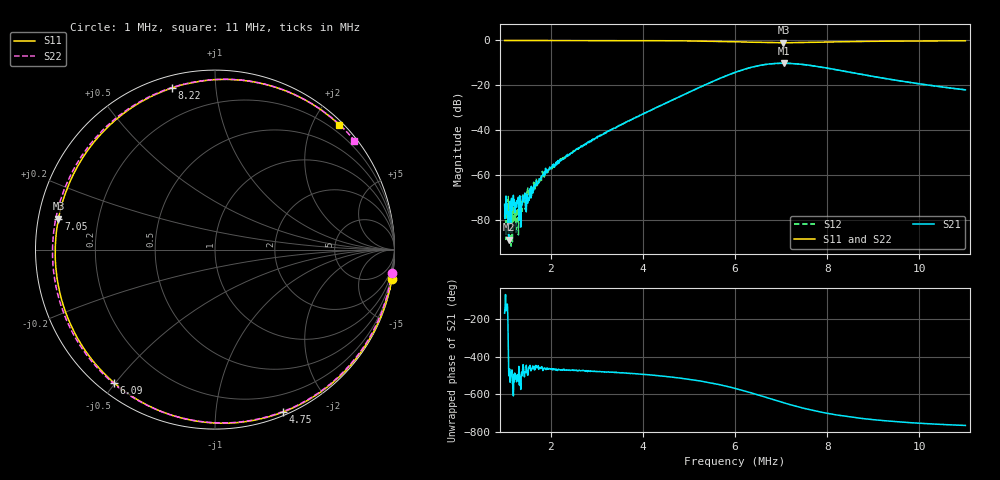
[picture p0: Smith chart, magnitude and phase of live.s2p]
# MHz S DB R 50
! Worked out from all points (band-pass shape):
!   1001 points, 1 MHz to 11 MHz, reference 50 ohm
!   highest |S21| = -10.14 dB at 7.06 MHz (marker M1); lowest = -88.6 dB at 1.09 MHz (marker M2)
!   |S21| within 3 dB of the highest: 6.154 MHz to 8.231 MHz (2.077 MHz wide, 28.9 % of centre)
!   lowest |S11| = -1.0 dB at 7.05 MHz (marker M3), VSWR 17.00, Z = 2.97 + j4.89 ohm
!   |S11| at or under -10 dB: nowhere
!   |S22| runs from -0.9 to 0.0 dB; largest |S21 - S12| = 0.0013
!   S11 on the Smith chart (normalised r, x): 1 MHz: 0, -12; 4.75 MHz: 0.03, -1.50; 6.09 MHz: 0.04, -0.49; 7.05 MHz: 0.06, +0.10; 8.22 MHz: 0.06, +0.77; 11 MHz: 0.06, +2.40
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1  -0.01 -9.4  -72.93 -167.3  -78.44 -167.9  -0.06 -7.4
1.09  -0.01 -10.2  -88.64 -139.7  -81.69 36.1  -0.06 -8.0
1.17  -0.02 -11.0  -75.56 178.8  -89.68 128.6  -0.06 -8.6
1.29  -0.02 -12.1  -70.60 -167.5  -74.69 -157.1  -0.06 -9.5
1.36  -0.02 -12.8  -73.36 -134.5  -71.67 -109.6  -0.06 -10.0
1.44  -0.02 -13.5  -68.06 -121.3  -67.92 -127.7  -0.07 -10.6
1.52  -0.02 -14.3  -70.75 -100.6  -70.85 -57.5  -0.07 -11.2
1.87  -0.03 -17.8  -59.98 -103.2  -60.35 -117.1  -0.07 -13.9
2.67  -0.02 -27.0  -47.19 -114.2  -47.44 -115.7  -0.06 -21.1
4.34  -0.11 -56.1  -29.38 -141.8  -29.48 -141.5  -0.11 -45.6
4.75  -0.16 -67.3  -25.47 -152.6  -25.47 -152.8  -0.14 -55.8
5.46  -0.33 -93.8  -18.76 -179.4  -18.79 -179.2  -0.26 -81.9
6  -0.57 -121.9  -14.22 151.0  -14.25 151.2  -0.48 -113.2
6.09  -0.62 -127.3  -13.58 145.2  -13.60 145.3  -0.53 -119.7
6.6  -0.92 -160.7  -10.87 108.2  -10.90 108.3  -0.80 -161.7
7.05  -1.02 168.8  -10.15 74.2  -10.16 74.3  -0.87 158.9
7.06  -1.02 168.1  -10.14 73.4  -10.17 73.5  -0.87 158.1
7.36  -0.96 149.0  -10.45 52.8  -10.47 52.9  -0.80 135.0
7.67  -0.85 131.1  -11.20 34.2  -11.23 34.3  -0.67 114.9
8.22  -0.61 105.0  -13.10 8.3  -13.13 8.4  -0.45 88.6
9.34  -0.32 70.9  -17.19 -23.9  -17.22 -23.8  -0.23 58.5
11  -0.16 45.2  -21.97 -47.3  -21.97 -47.1  -0.12 38.0
